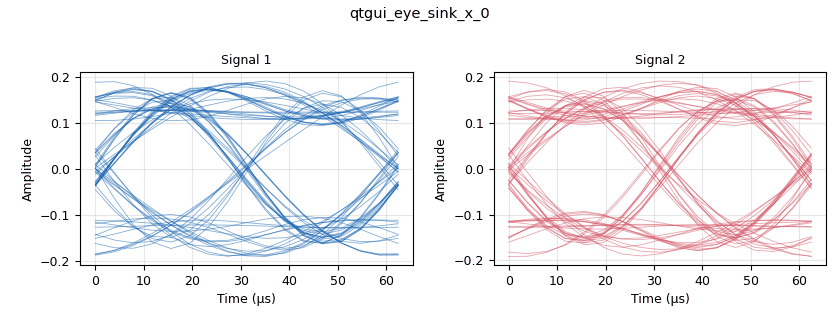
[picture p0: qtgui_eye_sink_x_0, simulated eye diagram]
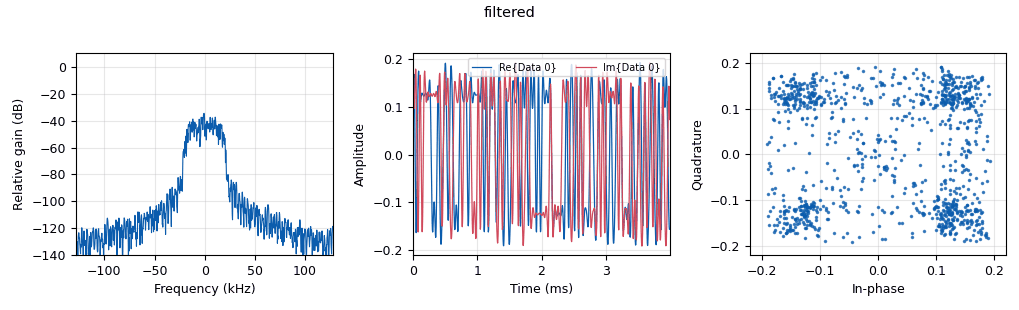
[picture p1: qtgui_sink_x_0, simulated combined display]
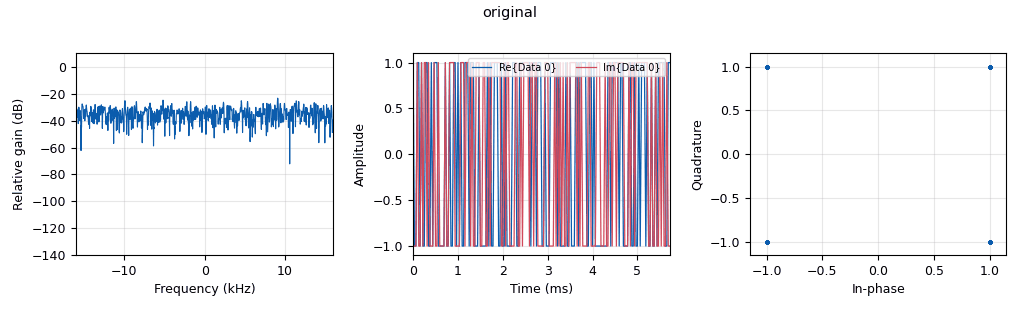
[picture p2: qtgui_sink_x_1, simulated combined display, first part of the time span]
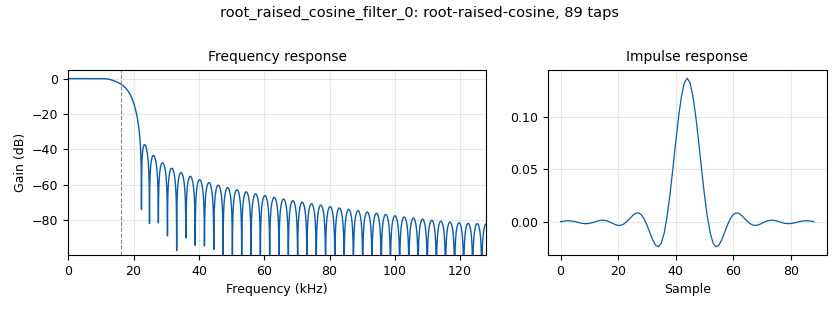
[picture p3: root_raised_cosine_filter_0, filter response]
options:
  parameters:
    generate_options: qt_gui
    id: lab71
    output_language: python
    title: lab71
  states: {}

blocks:
- name: alpha
  id: variable_qtgui_range
  parameters:
    start: '0'
    step: '0.001'
    stop: '1'
    value: '0.35'
  states: {}
- name: samples_per_symbol
  id: variable_qtgui_range
  parameters:
    rangeType: int
    start: '0'
    step: '1'
    stop: '16'
    value: '8'
  states: {}
- name: symbol_rate
  id: variable_qtgui_range
  parameters:
    rangeType: int
    start: '1600'
    step: '1'
    stop: '160000'
    value: '32000'
  states: {}
- name: analog_random_source_x_0
  id: analog_random_source_x
  parameters:
    max: '4'
    min: '0'
    num_samps: '1000'
    repeat: 'True'
    type: byte
  states: {}
- name: digital_chunks_to_symbols_xx_0
  id: digital_chunks_to_symbols_xx
  parameters:
    dimension: '1'
    in_type: byte
    out_type: complex
    symbol_table: ((-1-1j), (-1+1j), (1-1j), (1+1j))
  states: {}
- name: interp_fir_filter_xxx_0
  id: interp_fir_filter_xxx
  parameters:
    interp: samples_per_symbol
    taps: '1'
    type: ccc
  states: {}
- name: qtgui_eye_sink_x_0
  id: qtgui_eye_sink_x
  parameters:
    autoscale: 'True'
    samp_per_symbol: samples_per_symbol
    size: '1024'
    srate: symbol_rate*samples_per_symbol
    type: complex
  states: {}
- name: qtgui_sink_x_0
  id: qtgui_sink_x
  parameters:
    bw: symbol_rate*samples_per_symbol
    fc: '0'
    fftsize: '1024'
    name: filtered
    type: complex
  states: {}
- name: qtgui_sink_x_1
  id: qtgui_sink_x
  parameters:
    bw: symbol_rate
    fc: '0'
    fftsize: '1024'
    name: original
    type: complex
  states: {}
- name: root_raised_cosine_filter_0
  id: root_raised_cosine_filter
  parameters:
    alpha: alpha
    gain: '1'
    interp: '1'
    ntaps: 11*samples_per_symbol
    samp_rate: symbol_rate*samples_per_symbol
    sym_rate: symbol_rate
    type: interp_fir_filter_ccf
  states: {}

connections:
- [analog_random_source_x_0, '0', digital_chunks_to_symbols_xx_0, '0']
- [digital_chunks_to_symbols_xx_0, '0', interp_fir_filter_xxx_0, '0']
- [digital_chunks_to_symbols_xx_0, '0', qtgui_sink_x_1, '0']
- [interp_fir_filter_xxx_0, '0', root_raised_cosine_filter_0, '0']
- [root_raised_cosine_filter_0, '0', qtgui_eye_sink_x_0, '0']
- [root_raised_cosine_filter_0, '0', qtgui_sink_x_0, '0']

metadata:
  file_format: 1
